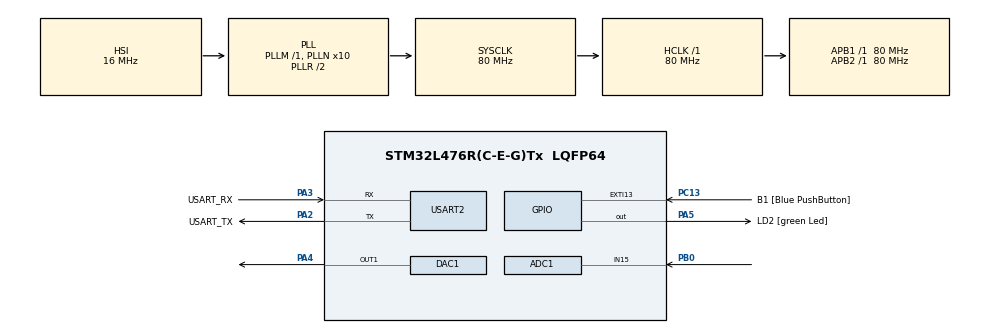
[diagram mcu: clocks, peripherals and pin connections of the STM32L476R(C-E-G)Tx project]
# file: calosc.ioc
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ADC1.Channel-0\#ChannelRegularConversion=ADC_CHANNEL_15
ADC1.NbrOfConversionFlag=1
ADC1.OffsetNumber-0\#ChannelRegularConversion=ADC_OFFSET_NONE
ADC1.Rank-0\#ChannelRegularConversion=1
ADC1.SamplingTime-0\#ChannelRegularConversion=ADC_SAMPLETIME_92CYCLES_5
ADC1.master=1
DAC1.DAC_Trigger-DAC_OUT1=DAC_TRIGGER_T6_TRGO
Dma.DAC_CH1.0.Direction=DMA_MEMORY_TO_PERIPH
Dma.DAC_CH1.0.Instance=DMA1_Channel3
Dma.DAC_CH1.0.MemDataAlignment=DMA_MDATAALIGN_BYTE
Dma.DAC_CH1.0.MemInc=DMA_MINC_ENABLE
Dma.DAC_CH1.0.Mode=DMA_CIRCULAR
Dma.DAC_CH1.0.PeriphDataAlignment=DMA_PDATAALIGN_BYTE
Dma.DAC_CH1.0.PeriphInc=DMA_PINC_DISABLE
Dma.DAC_CH1.0.Priority=DMA_PRIORITY_LOW
Dma.Request0=DAC_CH1
Mcu.Family=STM32L4
Mcu.Name=STM32L476R(C-E-G)Tx
Mcu.Package=LQFP64
NVIC.ADC1_2_IRQn=true\:0\:0\:false\:false\:true\:true\:true
NVIC.DMA1_Channel3_IRQn=true\:0\:0\:false\:false\:true\:false\:true
NVIC.PriorityGroup=NVIC_PRIORITYGROUP_4
PA13\ (JTMS-SWDIO).GPIO_Label=TMS
PA13\ (JTMS-SWDIO).Mode=Serial_Wire
PA13\ (JTMS-SWDIO).Signal=SYS_JTMS-SWDIO
PA14\ (JTCK-SWCLK).GPIO_Label=TCK
PA14\ (JTCK-SWCLK).Mode=Serial_Wire
PA14\ (JTCK-SWCLK).Signal=SYS_JTCK-SWCLK
PA2.GPIO_Label=USART_TX
PA2.GPIO_Mode=GPIO_MODE_AF_PP
PA2.GPIO_PuPd=GPIO_NOPULL
PA2.GPIO_Speed=GPIO_SPEED_FREQ_VERY_HIGH
PA2.Mode=Asynchronous
PA2.Signal=USART2_TX
PA3.GPIO_Label=USART_RX
PA3.GPIO_Mode=GPIO_MODE_AF_PP
PA3.GPIO_PuPd=GPIO_NOPULL
PA3.GPIO_Speed=GPIO_SPEED_FREQ_VERY_HIGH
PA3.Mode=Asynchronous
PA3.Signal=USART2_RX
PA4.Signal=COMP_DAC11_group
PA5.GPIO_Label=LD2 [green Led]
PA5.GPIO_ModeDefaultOutputPP=GPIO_MODE_OUTPUT_PP
PA5.GPIO_PuPd=GPIO_NOPULL
PA5.GPIO_Speed=GPIO_SPEED_FREQ_LOW
PA5.Signal=GPIO_Output
PB0.Signal=ADCx_IN15
PB3\ (JTDO-TRACESWO).GPIO_Label=SWO
PB3\ (JTDO-TRACESWO).Signal=SYS_JTDO-SWO
PC13.GPIO_Label=B1 [Blue PushButton]
PC13.GPIO_ModeDefaultEXTI=GPIO_MODE_IT_FALLING
PC13.GPIO_PuPd=GPIO_NOPULL
PC13.Signal=GPXTI13
PC14-OSC32_IN\ (PC14).Mode=LSE-External-Oscillator
PC14-OSC32_IN\ (PC14).Signal=RCC_OSC32_IN
PC15-OSC32_OUT\ (PC15).Mode=LSE-External-Oscillator
PC15-OSC32_OUT\ (PC15).Signal=RCC_OSC32_OUT
PH0-OSC_IN\ (PH0).Signal=RCC_OSC_IN
PH1-OSC_OUT\ (PH1).Signal=RCC_OSC_OUT
ProjectManager.HeapSize=0x200
ProjectManager.StackSize=0x400
ProjectManager.TargetToolchain=STM32CubeIDE
RCC.ADCFreq_Value=64000000
RCC.AHBFreq_Value=80000000
RCC.APB1Freq_Value=80000000
RCC.APB1TimFreq_Value=80000000
RCC.APB2Freq_Value=80000000
RCC.APB2TimFreq_Value=80000000
RCC.CortexFreq_Value=80000000
RCC.HCLKFreq_Value=80000000
RCC.HSE_VALUE=8000000
RCC.HSI_VALUE=16000000
RCC.MSI_VALUE=4000000
RCC.PLLN=10
RCC.PLLSourceVirtual=RCC_PLLSOURCE_HSI
RCC.PREFETCH_ENABLE=1
RCC.SYSCLKFreq_VALUE=80000000
RCC.SYSCLKSource=RCC_SYSCLKSOURCE_PLLCLK
RCC.USBFreq_Value=64000000
RCC.VCOOutputFreq_Value=160000000
SH.ADCx_IN15.0=ADC1_IN15,IN15-Single-Ended
SH.COMP_DAC11_group.0=DAC1_OUT1,DAC_OUT1
TIM6.Period=4999
TIM6.Prescaler=15999
TIM6.TIM_MasterOutputTrigger=TIM_TRGO_UPDATE
USART2.VirtualMode-Asynchronous=VM_ASYNC
VP_TIM6_VS_ClockSourceINT.Mode=Enable_Timer
board=NUCLEO-L476RG

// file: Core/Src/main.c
/* USER CODE BEGIN Header */
/**
  ******************************************************************************
  * @file           : main.c
  * @brief          : Main program body
  ******************************************************************************
  * @attention
  *
  * <h2><center>&copy; Copyright (c) 2022 STMicroelectronics.
  * All rights reserved.</center></h2>
  *
  * This software component is licensed by ST under BSD 3-Clause license,
  * the "License"; You may not use this file except in compliance with the
  * License. You may obtain a copy of the License at:
  *                        opensource.org/licenses/BSD-3-Clause
  *
  ******************************************************************************
  */
/* USER CODE END Header */
#include "main.h"
#include "adc.h"
#include "dac.h"
#include "dma.h"
#include "tim.h"
#include "usart.h"
#include "gpio.h"

/* USER CODE BEGIN Includes */
#include "stdio.h"
/* USER CODE END Includes */

/* USER CODE BEGIN PD */
int _write(int file, char *ptr, int len);
/* USER CODE END PD */

/* USER CODE BEGIN PV */
volatile uint16_t adc_value;
volatile uint16_t dac_value;
volatile uint8_t adc_flag;
//char dac[] = {128, 176, 217, 245, 255, 245, 217, 176, 128, 79, 38, 10, 1, 10, 38, 79};
char dac[] = {0, 0, 0, 0, 0, 0, 0, 0, 0, 0, 0, 0, 255, 255, 255, 255, 255, 255, 255, 255};

/* USER CODE END PV */

void SystemClock_Config(void);

/* USER CODE BEGIN 0 */
void HAL_ADC_ConvCpltCallback(ADC_HandleTypeDef *hadc) {
	if(hadc == &hadc1) {
		adc_value = HAL_ADC_GetValue(hadc);
		adc_flag = 1;
	}
}

/* USER CODE END 0 */

int main(void)
{

  /* MCU Configuration--------------------------------------------------------*/

  /* Reset of all peripherals, Initializes the Flash interface and the Systick. */
  HAL_Init();

  /* Configure the system clock */
  SystemClock_Config();

  /* Initialize all configured peripherals */
  MX_GPIO_Init();
  MX_DMA_Init();
  MX_USART2_UART_Init();
  MX_ADC1_Init();
  MX_DAC1_Init();
  MX_TIM6_Init();
  /* USER CODE BEGIN 2 */

  HAL_DAC_SetValue(&hdac1, DAC_CHANNEL_1, DAC_ALIGN_8B_R, 0);
  HAL_DAC_Start_DMA(&hdac1, DAC_CHANNEL_1, (uint32_t*) &dac[0], 16, DAC_ALIGN_8B_R);

  //HAL_DAC_Start_DMA(&hdac1, DAC_CHANNEL_1, (uint32_t*)dacValue, 6, DAC_ALIGN_8B_R);

  HAL_TIM_Base_Start(&htim6);

  HAL_ADC_Start_IT(&hadc1);

  /* USER CODE END 2 */

  /* Infinite loop */
  /* USER CODE BEGIN WHILE */
  while (1)
  {
	  if(adc_flag == 1){
		  printf("Zmierzona wartosc to %d\r\n", adc_value);

		  adc_flag = 0;

		  HAL_ADC_Start_IT(&hadc1);
	  }
	  HAL_Delay(500);
    /* USER CODE END WHILE */

  }
}

void SystemClock_Config(void)
{
  RCC_OscInitTypeDef RCC_OscInitStruct = {0};
  RCC_ClkInitTypeDef RCC_ClkInitStruct = {0};
  RCC_PeriphCLKInitTypeDef PeriphClkInit = {0};

  /** Initializes the RCC Oscillators according to the specified parameters
  * in the RCC_OscInitTypeDef structure.
  */
  RCC_OscInitStruct.OscillatorType = RCC_OSCILLATORTYPE_HSI;
  RCC_OscInitStruct.HSIState = RCC_HSI_ON;
  RCC_OscInitStruct.HSICalibrationValue = RCC_HSICALIBRATION_DEFAULT;
  RCC_OscInitStruct.PLL.PLLState = RCC_PLL_ON;
  RCC_OscInitStruct.PLL.PLLSource = RCC_PLLSOURCE_HSI;
  RCC_OscInitStruct.PLL.PLLM = 1;
  RCC_OscInitStruct.PLL.PLLN = 10;
  RCC_OscInitStruct.PLL.PLLP = RCC_PLLP_DIV7;
  RCC_OscInitStruct.PLL.PLLQ = RCC_PLLQ_DIV2;
  RCC_OscInitStruct.PLL.PLLR = RCC_PLLR_DIV2;
  if (HAL_RCC_OscConfig(&RCC_OscInitStruct) != HAL_OK)
  {
    Error_Handler();
  }
  /** Initializes the CPU, AHB and APB buses clocks
  */
  RCC_ClkInitStruct.ClockType = RCC_CLOCKTYPE_HCLK|RCC_CLOCKTYPE_SYSCLK
                              |RCC_CLOCKTYPE_PCLK1|RCC_CLOCKTYPE_PCLK2;
  RCC_ClkInitStruct.SYSCLKSource = RCC_SYSCLKSOURCE_PLLCLK;
  RCC_ClkInitStruct.AHBCLKDivider = RCC_SYSCLK_DIV1;
  RCC_ClkInitStruct.APB1CLKDivider = RCC_HCLK_DIV1;
  RCC_ClkInitStruct.APB2CLKDivider = RCC_HCLK_DIV1;

  if (HAL_RCC_ClockConfig(&RCC_ClkInitStruct, FLASH_LATENCY_4) != HAL_OK)
  {
    Error_Handler();
  }
  PeriphClkInit.PeriphClockSelection = RCC_PERIPHCLK_USART2|RCC_PERIPHCLK_ADC;
  PeriphClkInit.Usart2ClockSelection = RCC_USART2CLKSOURCE_PCLK1;
  PeriphClkInit.AdcClockSelection = RCC_ADCCLKSOURCE_PLLSAI1;
  PeriphClkInit.PLLSAI1.PLLSAI1Source = RCC_PLLSOURCE_HSI;
  PeriphClkInit.PLLSAI1.PLLSAI1M = 1;
  PeriphClkInit.PLLSAI1.PLLSAI1N = 8;
  PeriphClkInit.PLLSAI1.PLLSAI1P = RCC_PLLP_DIV7;
  PeriphClkInit.PLLSAI1.PLLSAI1Q = RCC_PLLQ_DIV2;
  PeriphClkInit.PLLSAI1.PLLSAI1R = RCC_PLLR_DIV2;
  PeriphClkInit.PLLSAI1.PLLSAI1ClockOut = RCC_PLLSAI1_ADC1CLK;
  if (HAL_RCCEx_PeriphCLKConfig(&PeriphClkInit) != HAL_OK)
  {
    Error_Handler();
  }
  /** Configure the main internal regulator output voltage
  */
  if (HAL_PWREx_ControlVoltageScaling(PWR_REGULATOR_VOLTAGE_SCALE1) != HAL_OK)
  {
    Error_Handler();
  }
}

/* USER CODE BEGIN 4 */
int _write(int file, char *ptr, int len){

	  if(HAL_UART_Transmit(&huart2, (uint8_t *) ptr, len, 100) != HAL_OK){
		  Error_Handler();
	  }

	return len;
}

/* USER CODE END 4 */

void Error_Handler(void)
{
}

/************************ (C) COPYRIGHT STMicroelectronics *****END OF FILE****/
